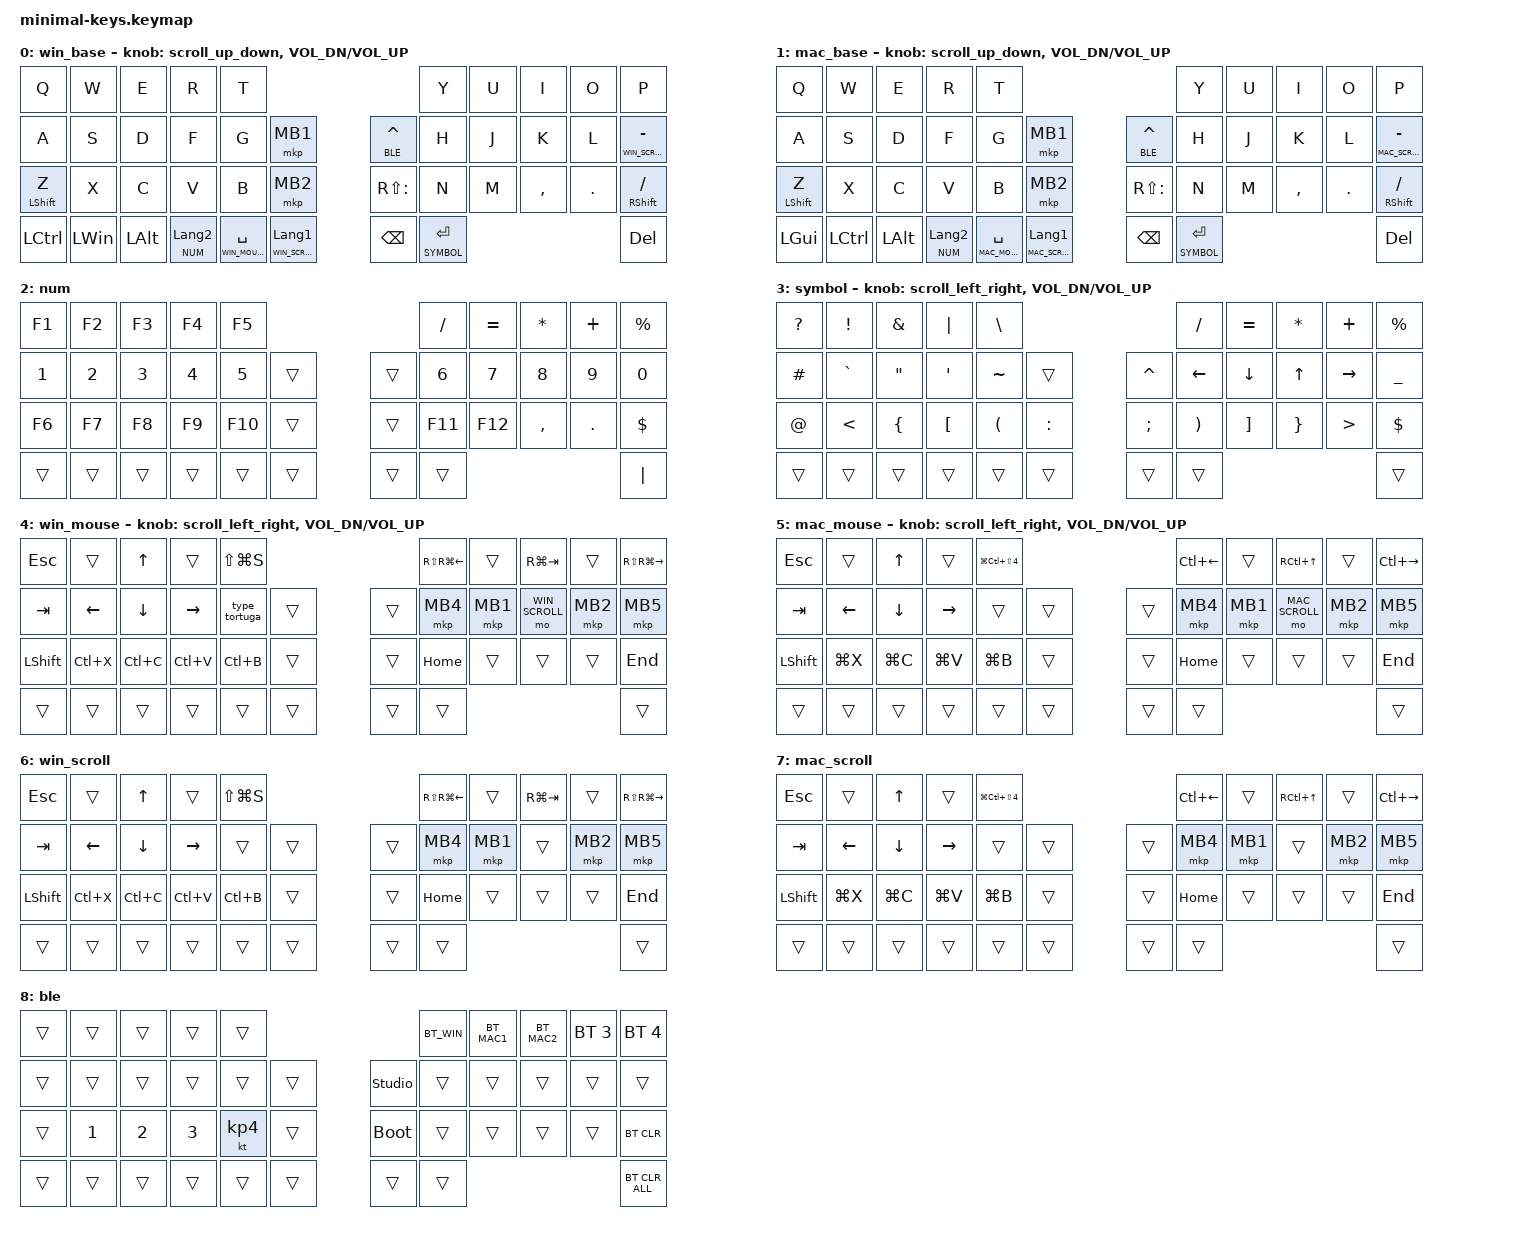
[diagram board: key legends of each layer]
#define ZMK_POINTING_DEFAULT_SCRL_VAL 70     // 55/18 は macOS で無反応になりやすい

#include <behaviors.dtsi>
#include <dt-bindings/zmk/bt.h>
#include <dt-bindings/zmk/keys.h>
#include <dt-bindings/zmk/pointing.h>

#define WIN_BASE    0
#define MAC_BASE    1
#define NUM         2
#define SYMBOL      3
#define WIN_MOUSE   4
#define MAC_MOUSE   5
#define WIN_SCROLL  6
#define MAC_SCROLL  7
#define BLE         8

&mt {
    flavor = "balanced";
    quick-tap-ms = <0>;
};

&msc {
    delay-ms = <0>;
    time-to-max-speed-ms = <0>;
    acceleration-exponent = <0>;
};

/ {
    combos {
        compatible = "zmk,combos";

        double_quotation {
            bindings = <&kp DOUBLE_QUOTES>;
            key-positions = <20 21>;
        };
    };

    macros {
        to_layer_0: to_layer_0 {
            compatible = "zmk,behavior-macro-one-param";
            #binding-cells = <1>;
            bindings = <&to 0 &macro_param_1to1 &kp MACRO_PLACEHOLDER>;
            label = "TO_LAYER_0";
        };

        BT_WIN: BT_WIN {
            compatible = "zmk,behavior-macro";
            #binding-cells = <0>;
            bindings =
                <&tog_off WIN_BASE &tog_off MAC_BASE>,
                <&macro_wait_time 200>,
                <&bt BT_SEL 0>,
                <&macro_wait_time 500>,
                <&tog_on WIN_BASE>;
            label = "BT_WIN";
        };

        BT_MAC1: BT_MAC1 {
            compatible = "zmk,behavior-macro";
            #binding-cells = <0>;
            bindings =
                <&tog_off WIN_BASE &tog_off MAC_BASE>,
                <&macro_wait_time 200>,
                <&bt BT_SEL 1>,
                <&macro_wait_time 500>,
                <&tog_on MAC_BASE>;
            label = "BT_MAC1";
        };

        BT_MAC2: BT_MAC2 {
            compatible = "zmk,behavior-macro";
            #binding-cells = <0>;
            bindings =
                <&tog_off WIN_BASE &tog_off MAC_BASE>,
                <&macro_wait_time 200>,
                <&bt BT_SEL 2>,
                <&macro_wait_time 500>,
                <&tog_on MAC_BASE>;
            label = "BT_MAC2";
        };

        type_tortuga: type_tortuga {
            compatible = "zmk,behavior-macro";
            #binding-cells = <0>;
            wait-ms = <10>;
            tap-ms = <10>;
            bindings =
                <&kp LS(T) &kp O &kp R &kp T &kp U &kp G &kp A
                 &kp NUMBER_4 &kp NUMBER_4 &kp NUMBER_1 &kp NUMBER_6
                 &kp K &kp A &kp M &kp E>;
            label = "TYPE_TORTUGA";
        };
    };

    behaviors {
        lt_to_layer_0: lt_to_layer_0 {
            compatible = "zmk,behavior-hold-tap";
            label = "LAYER_TAP_TO_0";
            bindings = <&mo>, <&to_layer_0>;
            #binding-cells = <2>;
            tapping-term-ms = <200>;
        };

        scroll_up_down: scroll_up_down {
            compatible = "zmk,behavior-sensor-rotate";
            label = "SCROLL_UP_DOWN";
            #sensor-binding-cells = <0>;
            bindings = <&msc SCRL_UP>, <&msc SCRL_DOWN>;
            tap-ms = <20>;
        };

        scroll_left_right: scroll_left_right {
            compatible = "zmk,behavior-sensor-rotate";
            label = "SCROLL_LEFT_RIGHT";
            #sensor-binding-cells = <0>;
            bindings = <&msc SCRL_LEFT>, <&msc SCRL_RIGHT>;
            tap-ms = <20>;
        };

        tog_on: toggle_layer_on_only {
            compatible = "zmk,behavior-toggle-layer";
            #binding-cells = <1>;
            display-name = "Toggle Layer On";
            toggle-mode = "on";
        };

        tog_off: toggle_layer_off_only {
            compatible = "zmk,behavior-toggle-layer";
            #binding-cells = <1>;
            display-name = "Toggle Layer Off";
            toggle-mode = "off";
        };
    };

    keymap {
        compatible = "zmk,keymap";

        // Pos 15/27: 標準層のみ MB1/MB2（エンコーダ下・左手最右列上2キー）

        win_base {
            bindings = <
&kp Q             &kp W         &kp E         &kp R         &kp T                                                              &kp Y             &kp U  &kp I      &kp O    &kp P
&kp A             &kp S         &kp D         &kp F         &kp G                &mkp MB1                       &lt BLE CARET  &kp H             &kp J  &kp K      &kp L    &lt WIN_SCROLL MINUS
&mt LEFT_SHIFT Z  &kp X         &kp C         &kp V         &kp B                &mkp MB2                       &kp RS(COLON)  &kp N             &kp M  &kp COMMA  &kp DOT  &mt RIGHT_SHIFT SLASH
&kp LCTRL         &kp LEFT_WIN  &kp LEFT_ALT  &lt NUM LANGUAGE_2  &lt WIN_MOUSE SPACE  &lt WIN_SCROLL LANGUAGE_1      &kp BACKSPACE  &lt SYMBOL ENTER                             &kp DEL
            >;

            sensor-bindings =
                <&scroll_up_down>,
                <&inc_dec_kp C_VOL_DN C_VOL_UP>;
        };

        mac_base {
            bindings = <
&kp Q             &kp W             &kp E         &kp R         &kp T                                                              &kp Y             &kp U  &kp I      &kp O    &kp P
&kp A             &kp S             &kp D         &kp F         &kp G                &mkp MB1                       &lt BLE CARET  &kp H             &kp J  &kp K      &kp L    &lt MAC_SCROLL MINUS
&mt LEFT_SHIFT Z  &kp X             &kp C         &kp V         &kp B                &mkp MB2                       &kp RS(COLON)  &kp N             &kp M  &kp COMMA  &kp DOT  &mt RIGHT_SHIFT SLASH
&kp LEFT_GUI      &kp LEFT_CONTROL  &kp LEFT_ALT  &lt NUM LANGUAGE_2  &lt MAC_MOUSE SPACE  &lt MAC_SCROLL LANGUAGE_1      &kp BACKSPACE  &lt SYMBOL ENTER                             &kp DEL
            >;

            sensor-bindings =
                <&scroll_up_down>,
                <&inc_dec_kp C_VOL_DN C_VOL_UP>;
        };

        num {
            bindings = <
&kp F1        &kp F2        &kp F3        &kp F4        &kp F5                            &kp SLASH     &kp EQUAL     &kp ASTERISK  &kp PLUS      &kp PERCENT
&kp NUMBER_1  &kp NUMBER_2  &kp NUMBER_3  &kp NUMBER_4  &kp NUMBER_5  &trans      &trans  &kp NUMBER_6  &kp NUMBER_7  &kp NUMBER_8  &kp NUMBER_9  &kp NUMBER_0
&kp F6        &kp F7        &kp F8        &kp F9        &kp F10       &trans      &trans  &kp F11       &kp F12       &kp COMMA     &kp DOT       &kp DOLLAR
&trans        &trans        &trans        &trans        &trans        &trans      &trans  &trans                                                  &kp PIPE
            >;
        };

        symbol {
            bindings = <
&kp QUESTION  &kp EXCLAMATION  &kp AMPERSAND      &kp PIPE          &kp BACKSLASH                                   &kp SLASH              &kp EQUAL          &kp ASTERISK     &kp PLUS          &kp PERCENT
&kp HASH      &kp GRAVE        &kp DOUBLE_QUOTES  &kp SINGLE_QUOTE  &kp TILDE             &trans         &kp CARET  &kp LEFT_ARROW         &kp DOWN_ARROW     &kp UP_ARROW     &kp RIGHT_ARROW   &kp UNDER
&kp AT_SIGN   &kp LESS_THAN    &kp LEFT_BRACE     &kp LEFT_BRACKET  &kp LEFT_PARENTHESIS  &kp COLON      &kp SEMI   &kp RIGHT_PARENTHESIS  &kp RIGHT_BRACKET  &kp RIGHT_BRACE  &kp GREATER_THAN  &kp DOLLAR
&trans        &trans           &trans             &trans            &trans                &trans         &trans     &trans                                                                       &trans
            >;

            sensor-bindings =
                <&scroll_left_right>,
                <&inc_dec_kp C_VOL_DN C_VOL_UP>;
        };

        win_mouse {
            bindings = <
&kp ESC         &trans          &kp UP_ARROW    &trans     &kp LS(LG(S))                      &kp RS(RG(LEFT_ARROW))  &trans    &kp RG(TAB)     &trans    &kp RS(RG(RIGHT_ARROW))
&kp TAB         &kp LEFT_ARROW  &kp DOWN_ARROW  &kp RIGHT  &type_tortuga  &trans      &trans  &mkp MB4                &mkp MB1  &mo WIN_SCROLL  &mkp MB2  &mkp MB5
&kp LEFT_SHIFT  &kp LC(X)       &kp LC(C)       &kp LC(V)  &kp LC(B)      &trans      &trans  &kp HOME                &trans    &trans          &trans    &kp END
&trans          &trans          &trans          &trans     &trans         &trans      &trans  &trans                                                      &trans
            >;

            sensor-bindings =
                <&scroll_left_right>,
                <&inc_dec_kp C_VOL_DN C_VOL_UP>;
        };

        mac_mouse {
            bindings = <
&kp ESC         &trans          &kp UP_ARROW    &trans     &kp LG(LC(LS(NUMBER_4)))                      &kp LC(LEFT_ARROW)  &trans    &kp RC(UP_ARROW)  &trans    &kp LC(RIGHT_ARROW)
&kp TAB         &kp LEFT_ARROW  &kp DOWN_ARROW  &kp RIGHT  &trans                    &trans      &trans  &mkp MB4            &mkp MB1  &mo MAC_SCROLL    &mkp MB2  &mkp MB5
&kp LEFT_SHIFT  &kp LG(X)       &kp LG(C)       &kp LG(V)  &kp LG(B)                 &trans      &trans  &kp HOME            &trans    &trans            &trans    &kp END
&trans          &trans          &trans          &trans     &trans                    &trans      &trans  &trans                                                    &trans
            >;

            sensor-bindings =
                <&scroll_left_right>,
                <&inc_dec_kp C_VOL_DN C_VOL_UP>;
        };

        win_scroll {
            bindings = <
&kp ESC         &trans          &kp UP_ARROW    &trans     &kp LS(LG(S))                      &kp RS(RG(LEFT_ARROW))  &trans    &kp RG(TAB)  &trans    &kp RS(RG(RIGHT_ARROW))
&kp TAB         &kp LEFT_ARROW  &kp DOWN_ARROW  &kp RIGHT  &trans         &trans      &trans  &mkp MB4                &mkp MB1  &trans       &mkp MB2  &mkp MB5
&kp LEFT_SHIFT  &kp LC(X)       &kp LC(C)       &kp LC(V)  &kp LC(B)      &trans      &trans  &kp HOME                &trans    &trans       &trans    &kp END
&trans          &trans          &trans          &trans     &trans         &trans      &trans  &trans                                                   &trans
            >;
        };

        mac_scroll {
            bindings = <
&kp ESC         &trans          &kp UP_ARROW    &trans     &kp LG(LC(LS(NUMBER_4)))                      &kp LC(LEFT_ARROW)  &trans    &kp RC(UP_ARROW)  &trans    &kp LC(RIGHT_ARROW)
&kp TAB         &kp LEFT_ARROW  &kp DOWN_ARROW  &kp RIGHT  &trans                    &trans      &trans  &mkp MB4            &mkp MB1  &trans            &mkp MB2  &mkp MB5
&kp LEFT_SHIFT  &kp LG(X)       &kp LG(C)       &kp LG(V)  &kp LG(B)                 &trans      &trans  &kp HOME            &trans    &trans            &trans    &kp END
&trans          &trans          &trans          &trans     &trans                    &trans      &trans  &trans                                                    &trans
            >;
        };

        ble {
            bindings = <
&trans  &trans        &trans        &trans        &trans                                 &BT_WIN  &BT_MAC1  &BT_MAC2  &bt BT_SEL 3  &bt BT_SEL 4
&trans  &trans        &trans        &trans        &trans     &trans      &studio_unlock  &trans   &trans    &trans    &trans        &trans
&trans  &kp NUMBER_1  &kp NUMBER_2  &kp NUMBER_3  &kt KP_N4  &trans      &bootloader     &trans   &trans    &trans    &trans        &bt BT_CLR
&trans  &trans        &trans        &trans        &trans     &trans      &trans          &trans                                     &bt BT_CLR_ALL
            >;
        };
    };
};
